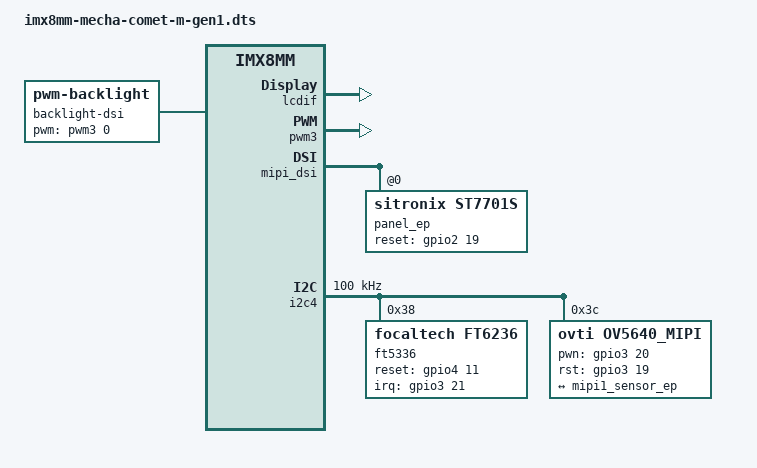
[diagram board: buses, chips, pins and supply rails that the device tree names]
// SPDX-License-Identifier: (GPL-2.0+ OR MIT)
/*
 * Copyright 2019 NXP
 */

/dts-v1/;

#include "imx8mm-mecha.dts"

/ {

	backlight-dsi {
		status = "okay";
		compatible = "pwm-backlight";
		pwms = <&pwm3 0 5000000>;
		brightness-levels = <0 255>;
		num-interpolated-steps = <255>;
		default-brightness-level = <250>;
	};

};

&lcdif {
	status = "okay";
};

&pwm3 {
	#pwm-cells = <2>;
        pinctrl-names = "default";
        pinctrl-0 = <&pinctrl_pwm3>;
        status = "okay";
};

&mipi_dsi {
        status = "okay";
        panel_ep: panel@0 {
                compatible = "sitronix,st7701s";
                reg = <0>;
                reset-gpio = <&gpio2 19 GPIO_ACTIVE_HIGH>;
                dsi-lanes = <2>;
                video-mode = <2>;       /* 0: burst mode
                                         * 1: non-burst mode with sync event
                                         * 2: non-burst mode with sync pulse
                                         */
                panel-width-mm = <60>;
                panel-height-mm = <60>;
                status = "okay";
        };
};

&i2c4 {
	clock-frequency = <100000>;
	pinctrl-names = "default";
	pinctrl-0 = <&pinctrl_i2c4>;
	status = "okay";

	ft5336@38 {
		compatible = "focaltech,ft6236", "ft5x06";
		reg = <0x38>;
		pinctrl-names = "default";
		pinctrl-0 = <&pinctrl_touch>;
		interrupt-parent = <&gpio3>;
		interrupts = <21 0>;
		reset-gpios = <&gpio4 11 GPIO_ACTIVE_HIGH>;
		touchscreen-size-x = <480>;
		touchscreen-size-y = <480>;
		status = "okay";
	};

	ov5640_mipi: ov5640_mipi@3c {
		compatible = "ovti,ov5640_mipi";
		reg = <0x3c>;
		status = "okay";
		pinctrl-names = "default";
		pinctrl-0 = <&pinctrl_csi_pwn>, <&pinctrl_csi_rst>;
		clocks = <&clk IMX8MM_CLK_CLKO1>;
		clock-names = "csi_mclk";
		assigned-clocks = <&clk IMX8MM_CLK_CLKO1>;
		assigned-clock-parents = <&clk IMX8MM_CLK_24M>;
		assigned-clock-rates = <24000000>;
		csi_id = <0>;
		pwn-gpios = <&gpio3 20 GPIO_ACTIVE_HIGH>;
		rst-gpios = <&gpio3 19 GPIO_ACTIVE_HIGH>;
		mclk = <24000000>;
		mclk_source = <0>;
		port {
			ov5640_mipi1_ep: endpoint {
				remote-endpoint = <&mipi1_sensor_ep>;
			};
		};
	};
};

&iomuxc {

	pinctrl_pwm3: pwm3grp {
		fsl,pins = <
			MX8MM_IOMUXC_SPDIF_TX_PWM3_OUT		0x06
		>;
	};

	pinctrl_i2c4: i2c4grp {
		fsl,pins = <
			MX8MM_IOMUXC_I2C4_SCL_I2C4_SCL          0x400001c3
			MX8MM_IOMUXC_I2C4_SDA_I2C4_SDA          0x400001c3
		>;
	};

	pinctrl_touch: touchgrp {
		fsl,pins = <
			MX8MM_IOMUXC_SAI1_TXC_GPIO4_IO11        0x19
			MX8MM_IOMUXC_SAI5_RXD0_GPIO3_IO21       0x19
		>;
	};

	pinctrl_csi_pwn: csi_pwn_grp {
		fsl,pins = <
			MX8MM_IOMUXC_SAI5_RXC_GPIO3_IO20	0x19
		>;
	};

	pinctrl_csi_rst: csi_rst_grp {
		fsl,pins = <
			MX8MM_IOMUXC_SAI5_RXFS_GPIO3_IO19		0x19
			MX8MM_IOMUXC_GPIO1_IO14_CCMSRCGPCMIX_CLKO1      0x59
		>;
	};

};
